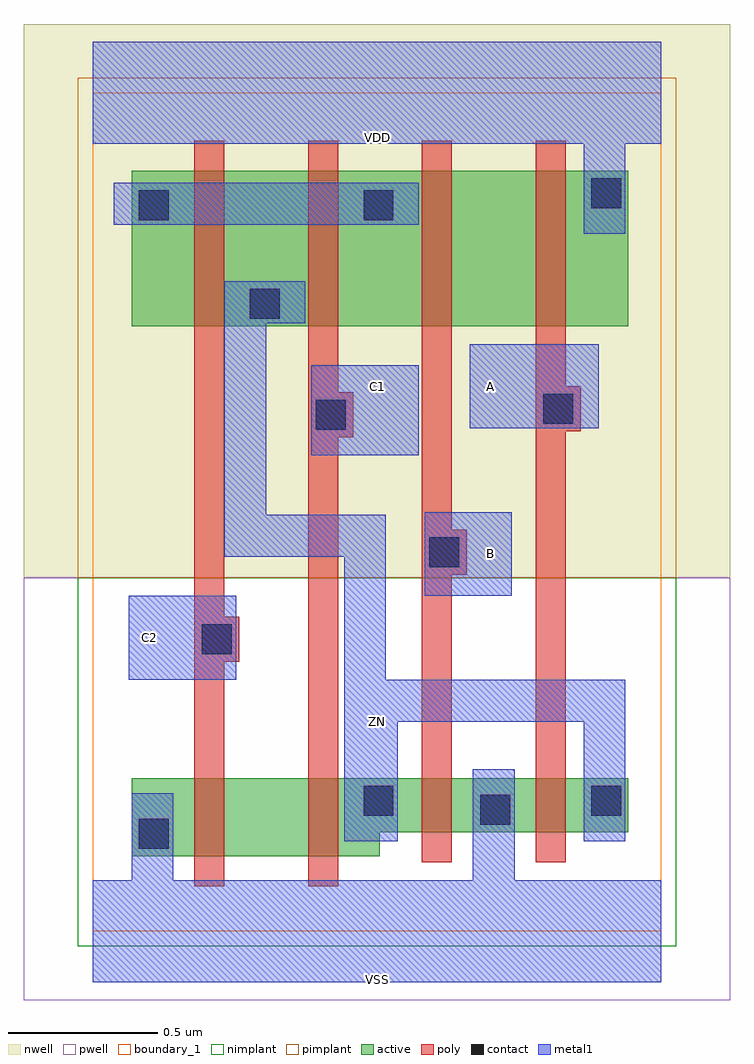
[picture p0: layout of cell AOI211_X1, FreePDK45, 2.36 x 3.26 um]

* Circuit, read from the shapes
.subckt AOI211_X1 A B C1 C2 VDD VSS ZN
M1 n1 C2 VSS VSUBS nfet w=0.26u l=0.1u
M2 ZN C1 n1 VSUBS nfet w=0.26u l=0.1u
M3 VSS B ZN VSUBS nfet w=0.18u l=0.1u
M4 ZN A VSS VSUBS nfet w=0.18u l=0.1u
M5 ZN C2 n2 n3 pfet w=0.52u l=0.1u
M6 n2 C1 ZN n3 pfet w=0.52u l=0.1u
M7 n4 B n2 n3 pfet w=0.52u l=0.1u
M8 VDD A n4 n3 pfet w=0.52u l=0.1u
.ends

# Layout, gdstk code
import gdstk
lib = gdstk.Library(unit=1e-6, precision=1e-09)
def R(c, l, rs):  # rectangles x0, y0, x1, y1
    for r in rs: c.add(gdstk.rectangle(r[:2], r[2:], *l))
def P(c, l, *ps):  # polygons
    for p in ps: c.add(gdstk.Polygon(p, *l))
active = (1, 0)
pwell = (2, 0)
nwell = (3, 0)
nimplant = (4, 0)
pimplant = (5, 0)
poly = (9, 0)
contact = (10, 0)
metal1 = (11, 0)
boundary_1 = (235, 1)

aoi211_x1 = lib.new_cell('AOI211_X1')
R(aoi211_x1, active, [(0.13,2.02,1.79,2.54)])
P(aoi211_x1, active, [(0.13,0.25),(0.96,0.25),(0.96,0.33),(1.79,0.33),(1.79,0.51),(0.13,0.51)])
R(aoi211_x1, pwell, [(-0.23,-0.23,2.13,1.18)])
R(aoi211_x1, nwell, [(-0.23,1.18,2.13,3.03)])
R(aoi211_x1, nimplant, [(-0.05,-0.05,1.95,1.18)])
R(aoi211_x1, pimplant, [(-0.05,1.18,1.95,2.85)])
P(aoi211_x1, poly, [(1.48,0.23),(1.58,0.23),(1.58,1.67),(1.63,1.67),(1.63,1.82),(1.58,1.82),(1.58,2.64),(1.48,2.64)],
  [(1.1,0.23),(1.2,0.23),(1.2,1.19),(1.25,1.19),(1.25,1.34),(1.2,1.34),(1.2,2.64),(1.1,2.64)],
  [(0.72,0.15),(0.82,0.15),(0.82,1.65),(0.87,1.65),(0.87,1.8),(0.82,1.8),(0.82,2.64),(0.72,2.64)],
  [(0.34,0.15),(0.44,0.15),(0.44,0.9),(0.49,0.9),(0.49,1.05),(0.44,1.05),(0.44,2.64),(0.34,2.64)])
R(aoi211_x1, contact, [(0.155,0.275,0.255,0.375), (1.295,0.355,1.395,0.455), (0.905,0.385,1.005,0.485), (1.665,0.385,1.765,0.485), (0.365,0.925,0.465,1.025), (1.125,1.215,1.225,1.315), (0.745,1.675,0.845,1.775), (1.505,1.695,1.605,1.795), (0.525,2.045,0.625,2.145), (0.155,2.375,0.255,2.475), (0.905,2.375,1.005,2.475), (1.665,2.415,1.765,2.515)])
R(aoi211_x1, metal1, [(0.12,0.84,0.48,1.12), (0.12,0.84,0.48,1.12), (1.11,1.12,1.4,1.4), (1.11,1.12,1.4,1.4), (0.73,1.59,1.09,1.89), (0.73,1.59,1.09,1.89), (1.26,1.68,1.69,1.96), (1.26,1.68,1.69,1.96), (0.07,2.36,1.09,2.5)])
P(aoi211_x1, metal1, [(0.44,1.25),(0.84,1.25),(0.84,0.3),(1.02,0.3),(1.02,0.7),(1.64,0.7),(1.64,0.3),(1.78,0.3),(1.78,0.84),(0.98,0.84),(0.98,1.39),(0.58,1.39),(0.58,2.03),(0.71,2.03),(0.71,2.17),(0.44,2.17)],
  [(0,-0.17),(1.9,-0.17),(1.9,0.17),(1.41,0.17),(1.41,0.54),(1.27,0.54),(1.27,0.17),(0.27,0.17),(0.27,0.46),(0.13,0.46),(0.13,0.17),(0,0.17)],
  [(0,2.63),(1.64,2.63),(1.64,2.33),(1.78,2.33),(1.78,2.63),(1.9,2.63),(1.9,2.97),(0,2.97)],
  [(0,2.63),(1.64,2.63),(1.64,2.33),(1.78,2.33),(1.78,2.63),(1.9,2.63),(1.9,2.97),(0,2.97)],
  [(0,-0.17),(1.9,-0.17),(1.9,0.17),(1.41,0.17),(1.41,0.54),(1.27,0.54),(1.27,0.17),(0.27,0.17),(0.27,0.46),(0.13,0.46),(0.13,0.17),(0,0.17)],
  [(0.44,1.25),(0.84,1.25),(0.84,0.3),(1.02,0.3),(1.02,0.7),(1.64,0.7),(1.64,0.3),(1.78,0.3),(1.78,0.84),(0.98,0.84),(0.98,1.39),(0.58,1.39),(0.58,2.03),(0.71,2.03),(0.71,2.17),(0.44,2.17)])
R(aoi211_x1, boundary_1, [(0,0,1.9,2.8)])
aoi211_x1.add(gdstk.Label('ZN', (0.95,0.7), layer=11, texttype=0))
aoi211_x1.add(gdstk.Label('VSS', (0.95,-0.16), layer=11, texttype=0))
aoi211_x1.add(gdstk.Label('VDD', (0.95,2.65), layer=11, texttype=0))
aoi211_x1.add(gdstk.Label('C2', (0.19,0.98), layer=11, texttype=0))
aoi211_x1.add(gdstk.Label('C1', (0.95,1.82), layer=11, texttype=0))
aoi211_x1.add(gdstk.Label('B', (1.33,1.26), layer=11, texttype=0))
aoi211_x1.add(gdstk.Label('A', (1.33,1.82), layer=11, texttype=0))

lib.write_gds('AOI211_X1.gds')
